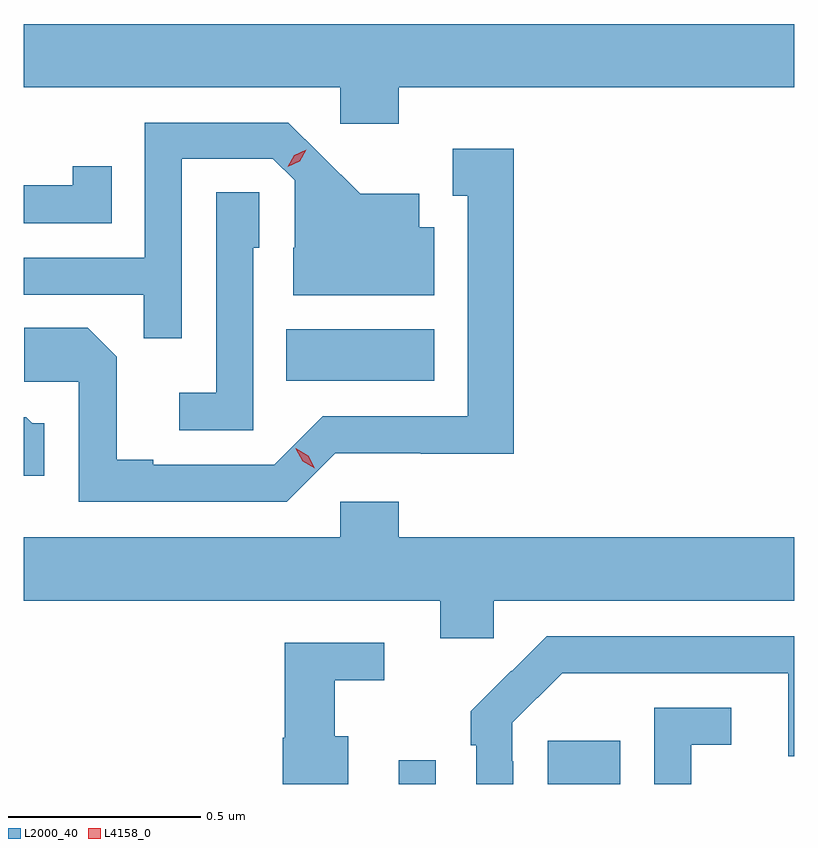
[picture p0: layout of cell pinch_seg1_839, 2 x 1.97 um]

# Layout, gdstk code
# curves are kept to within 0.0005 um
import gdstk
lib = gdstk.Library(unit=1e-6, precision=1e-09)
def R(c, l, rs):  # rectangles x0, y0, x1, y1
    for r in rs: c.add(gdstk.rectangle(r[:2], r[2:], *l))
def P(c, l, *ps):  # polygons
    for p in ps: c.add(gdstk.Polygon(p, *l))
L2000_40 = (2000, 40)
L4158_0 = (4158, 0)

pinch_seg1_839 = lib.new_cell('pinch_seg1_839')
R(pinch_seg1_839, L2000_40, [(462.891,563.244,462.987,563.305), (463.277,563.244,463.465,563.356), (462.598,564.29,462.982,564.424)])
P(pinch_seg1_839, L2000_40, [(462.89,565.052),(463.917,565.052),(463.917,565.216),(461.917,565.216),(461.917,565.052),(462.738,565.052),(462.738,564.957),(462.89,564.957)],
  [(462.327,564.867),(462.564,564.867),(462.621,564.81),(462.621,564.636),(462.617,564.636),(462.617,564.512),(462.982,564.512),(462.982,564.688),(462.943,564.688),(462.943,564.775),(462.791,564.775),(462.604,564.96),(462.231,564.96),(462.231,564.609),(461.917,564.609),(461.917,564.513),(462.229,564.513),(462.229,564.4),(462.327,564.4)],
  [(462.726,564.102),(462.948,564.102),(462.948,564.101),(463.189,564.101),(463.189,564.892),(463.031,564.892),(463.031,564.771),(463.07,564.771),(463.07,564.198),(462.693,564.198),(462.567,564.072),(462.253,564.072),(462.253,564.085),(462.159,564.085),(462.159,564.352),(462.083,564.428),(461.919,564.428),(461.919,564.288),(462.06,564.288),(462.06,563.976),(462.6,563.976)],
  [(462.146,564.847),(462.045,564.847),(462.045,564.798),(461.917,564.798),(461.917,564.699),(462.146,564.699)],
  [(462.513,564.636),(462.528,564.636),(462.528,564.779),(462.417,564.779),(462.417,564.259),(462.321,564.259),(462.321,564.162),(462.513,564.162)],
  [(461.971,564.18),(461.94,564.18),(461.924,564.196),(461.917,564.196),(461.917,564.044),(461.971,564.044)],
  [(463.137,563.72),(463.917,563.72),(463.917,563.884),(462.89,563.884),(462.89,563.977),(462.738,563.977),(462.738,563.884),(461.917,563.884),(461.917,563.72),(462.998,563.72),(462.998,563.622),(463.137,563.622)],
  [(463.188,563.303),(463.185,563.303),(463.185,563.403),(463.314,563.532),(463.901,563.532),(463.901,563.316),(463.917,563.316),(463.917,563.628),(463.274,563.628),(463.183,563.537),(463.182,563.538),(463.077,563.433),(463.077,563.345),(463.092,563.345),(463.092,563.244),(463.188,563.244)],
  [(462.76,563.368),(462.724,563.368),(462.724,563.513),(462.853,563.513),(462.853,563.61),(462.595,563.61),(462.595,563.364),(462.59,563.364),(462.59,563.244),(462.76,563.244)],
  [(463.65,563.346),(463.753,563.346),(463.753,563.442),(463.554,563.442),(463.554,563.244),(463.65,563.244)])
P(pinch_seg1_839, L4158_0, [(462.673,564.063),(462.641,564.082),(462.623,564.114),(462.623,564.115),(462.623,564.115),(462.655,564.096),(462.673,564.063),(462.673,564.063)],
  [(462.602,564.845),(462.602,564.846),(462.619,564.875),(462.65,564.89),(462.651,564.89),(462.651,564.89),(462.633,564.86),(462.602,564.845)])

lib.write_gds('pinch_seg1_839.gds')
